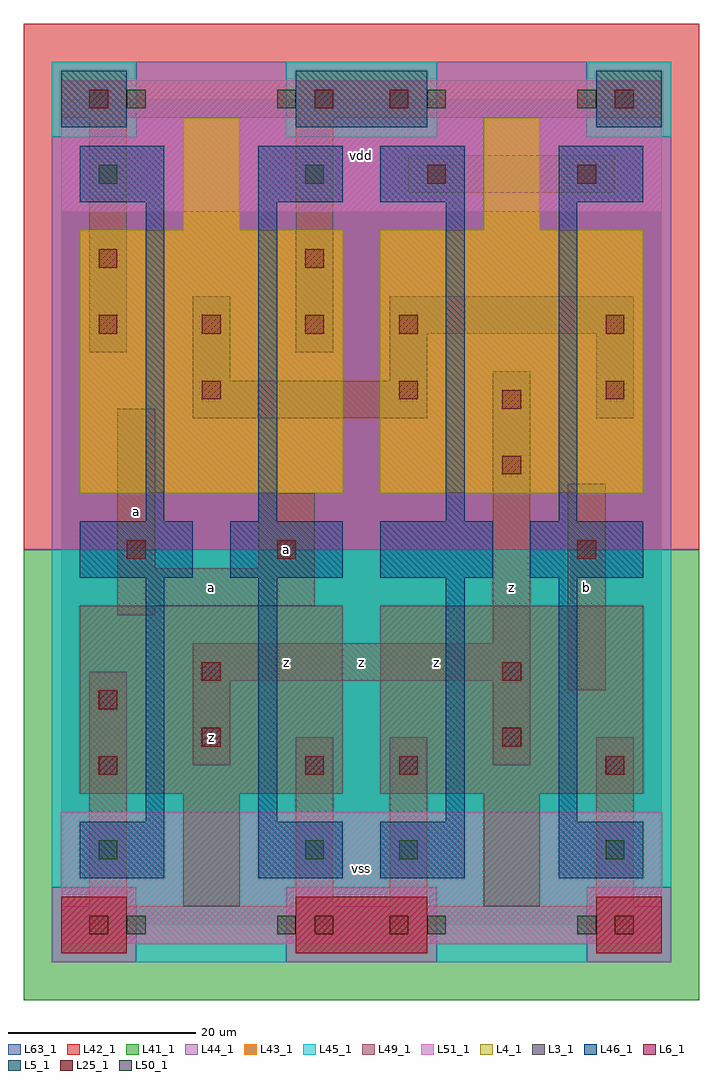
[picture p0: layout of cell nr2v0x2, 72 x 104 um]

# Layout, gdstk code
import gdstk
lib = gdstk.Library(unit=1e-6, precision=1e-09)
def R(c, l, rs):  # rectangles x0, y0, x1, y1
    for r in rs: c.add(gdstk.rectangle(r[:2], r[2:], *l))
def A(c, l, x, y, w, h, nx, ny, dx, dy):  # array of equal rectangles
    R(c, l, [(x+i*dx, y+j*dy, x+i*dx+w, y+j*dy+h) for i in range(nx) for j in range(ny)])
L3_1 = (3, 1)
L4_1 = (4, 1)
L5_1 = (5, 1)
L6_1 = (6, 1)
L25_1 = (25, 1)
L41_1 = (41, 1)
L42_1 = (42, 1)
L43_1 = (43, 1)
L44_1 = (44, 1)
L45_1 = (45, 1)
L46_1 = (46, 1)
L49_1 = (49, 1)
L50_1 = (50, 1)
L51_1 = (51, 1)
L63_1 = (63, 1)

nr2v0x2 = lib.new_cell('nr2v0x2')
R(nr2v0x2, L3_1, [(13,2,19,14), (45,2,51,14), (2,14,30,34), (34,14,62,34)])
R(nr2v0x2, L4_1, [(2,46,30,74), (34,46,62,74), (13,74,19,86), (45,74,51,86)])
R(nr2v0x2, L5_1, [(0,85,7,91), (25,85,39,91), (57,85,64,91)])
R(nr2v0x2, L6_1, [(0,-3,7,3), (0,-3,7,3), (25,-3,39,3), (25,-3,39,3), (57,-3,64,3), (57,-3,64,3)])
A(nr2v0x2, L25_1, 4, 63, 2, 2, 3, 1, 11, 0)
R(nr2v0x2, L25_1, [(3,-1,5,1), (27,-1,29,1), (35,-1,37,1), (59,-1,61,1), (4,16,6,18), (26,16,28,18), (36,16,38,18), (58,16,60,18), (15,19,17,21), (47,19,49,21), (4,23,6,25), (15,26,17,28), (47,26,49,28), (7,39,9,41), (23,39,25,41), (55,39,57,41), (47,48,49,50), (47,55,49,57), (15,56,17,58), (36,56,38,58), (58,56,60,58), (36,63,38,65), (58,63,60,65), (4,70,6,72), (26,70,28,72), (39,79,41,81), (55,79,57,81), (3,87,5,89), (27,87,29,89), (35,87,37,89), (59,87,61,89)])
R(nr2v0x2, L41_1, [(-4,-8,68,40)])
R(nr2v0x2, L42_1, [(-4,40,68,96)])
R(nr2v0x2, L43_1, [(0,-3,7,3), (25,-3,39,3), (57,-3,64,3), (13,2,19,14), (45,2,51,14), (2,14,30,34), (34,14,62,34), (2,46,30,74), (34,46,62,74), (13,74,19,86), (45,74,51,86), (0,85,7,91), (25,85,39,91), (57,85,64,91)])
R(nr2v0x2, L44_1, [(-1,-4,8,4), (24,-4,40,4), (56,-4,65,4), (-1,40,65,84), (8,84,24,92), (40,84,56,92)])
R(nr2v0x2, L45_1, [(8,-4,24,4), (40,-4,56,4), (-1,4,65,40), (-1,84,8,92), (24,84,40,92), (56,84,65,92)])
A(nr2v0x2, L46_1, 2, 37, 12, 6, 4, 1, 16, 0)
R(nr2v0x2, L46_1, [(2,5,11,11), (21,5,30,11), (34,5,43,11), (53,5,62,11), (9,11,11,37), (21,11,23,37), (41,11,43,37), (53,11,55,37), (9,43,11,77), (21,43,23,77), (41,43,43,77), (53,43,55,77), (2,77,11,83), (21,77,30,83), (34,77,43,83), (53,77,62,83)])
R(nr2v0x2, L49_1, [(0,-2,64,2), (3,2,7,27), (25,2,29,20), (35,2,39,20), (57,2,61,20), (14,17,18,26), (46,17,50,26), (54,25,58,47), (14,26,50,30), (46,30,50,59), (6,33,10,34), (6,34,27,38), (6,38,10,55), (21,38,27,46), (14,54,39,58), (57,54,61,63), (14,58,18,67), (35,58,39,63), (3,61,7,86), (25,61,29,86), (35,63,61,67), (37,78,59,82), (0,86,64,90)])
A(nr2v0x2, L50_1, 7, -1, 2, 2, 4, 2, 16, 88)
R(nr2v0x2, L50_1, [(4,7,6,9), (26,7,28,9), (36,7,38,9), (58,7,60,9), (4,79,6,81), (26,79,28,81)])
R(nr2v0x2, L51_1, [(0,-2,64,12), (0,76,64,90)])
R(nr2v0x2, L63_1, [(0,0,64,88)])
nr2v0x2.add(gdstk.Label('a', (8,44), layer=49, texttype=1))
nr2v0x2.add(gdstk.Label('z', (16,20), layer=49, texttype=1))
nr2v0x2.add(gdstk.Label('a', (16,36), layer=49, texttype=1))
nr2v0x2.add(gdstk.Label('z', (24,28), layer=49, texttype=1))
nr2v0x2.add(gdstk.Label('z', (32,28), layer=49, texttype=1))
nr2v0x2.add(gdstk.Label('a', (24,40), layer=49, texttype=1))
nr2v0x2.add(gdstk.Label('z', (40,28), layer=49, texttype=1))
nr2v0x2.add(gdstk.Label('z', (48,36), layer=49, texttype=1))
nr2v0x2.add(gdstk.Label('b', (56,36), layer=49, texttype=1))
nr2v0x2.add(gdstk.Label('vss', (32,6), layer=51, texttype=1))
nr2v0x2.add(gdstk.Label('vdd', (32,82), layer=51, texttype=1))

lib.write_gds('nr2v0x2.gds')
